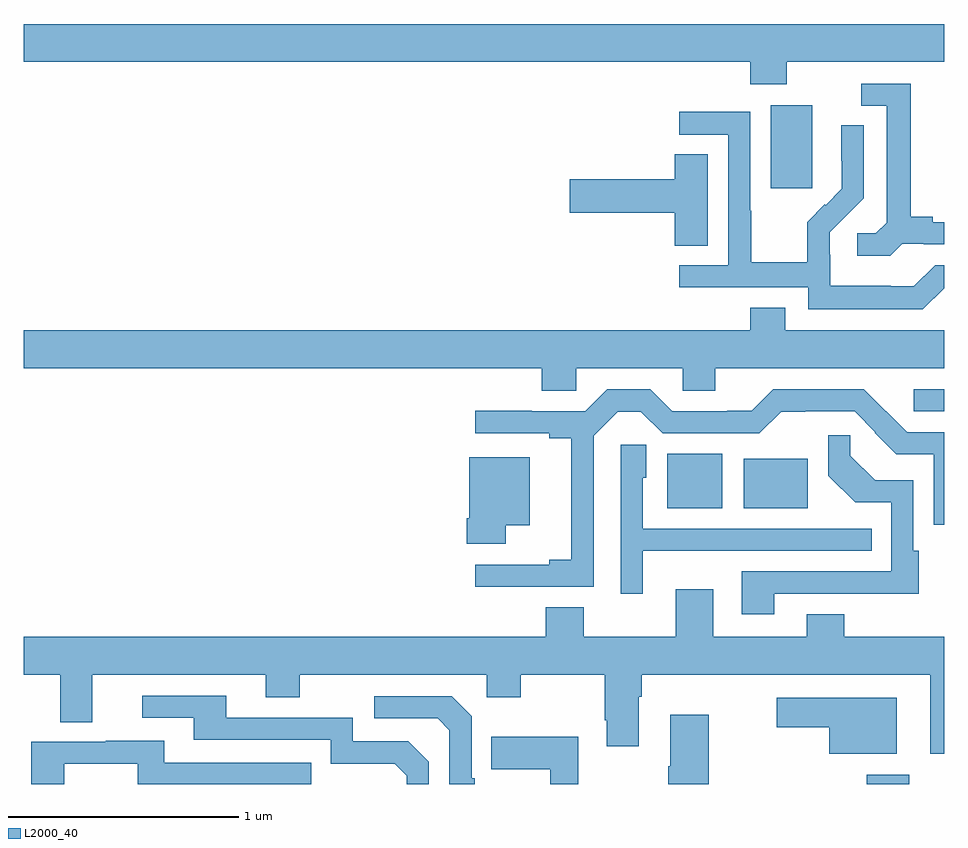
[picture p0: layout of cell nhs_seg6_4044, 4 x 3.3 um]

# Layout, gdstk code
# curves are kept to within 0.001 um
import gdstk
lib = gdstk.Library(unit=1e-6, precision=1e-09)
def R(c, l, rs):  # rectangles x0, y0, x1, y1
    for r in rs: c.add(gdstk.rectangle(r[:2], r[2:], *l))
def P(c, l, *ps):  # polygons
    for p in ps: c.add(gdstk.Polygon(p, *l))
L2000_40 = (2000, 40)

nhs_seg6_4044 = lib.new_cell('nhs_seg6_4044')
R(nhs_seg6_4044, L2000_40, [(352.663,973.5,352.849,973.54), (351.797,974.699,352.036,974.935), (352.13,974.699,352.408,974.914), (352.869,975.12,353,975.216), (352.247,976.089,352.426,976.45)])
P(nhs_seg6_4044, L2000_40, [(352.317,976.64),(353,976.64),(353,976.804),(349,976.804),(349,976.64),(352.157,976.64),(352.157,976.541),(352.317,976.541)],
  [(352.818,975.849),(352.912,975.849),(352.912,975.846),(353,975.846),(353,975.942),(352.951,975.942),(352.951,975.965),(352.855,975.965),(352.855,976.545),(352.641,976.545),(352.641,976.449),(352.751,976.449),(352.751,975.941),(352.704,975.894),(352.623,975.894),(352.623,975.797),(352.766,975.797)],
  [(353,975.656),(353,975.756),(352.962,975.756),(352.869,975.663),(352.769,975.663),(352.769,975.667),(352.506,975.667),(352.506,975.801),(352.504,975.801),(352.504,975.898),(352.65,976.046),(352.65,976.364),(352.554,976.364),(352.554,976.21),(352.556,976.21),(352.556,976.088),(352.485,976.017),(352.482,976.02),(352.405,975.943),(352.405,975.769),(352.161,975.769),(352.161,975.992),(352.158,975.992),(352.158,976.422),(351.849,976.422),(351.849,976.323),(352.062,976.323),(352.062,975.756),(351.849,975.756),(351.849,975.66),(352.41,975.66),(352.41,975.563),(352.907,975.563)],
  [(351.973,976.238),(351.83,976.238),(351.83,976.13),(351.372,976.13),(351.372,975.983),(351.83,975.983),(351.83,975.841),(351.973,975.841)],
  [(351.402,975.308),(351.864,975.308),(351.864,975.21),(352.006,975.21),(352.006,975.308),(353,975.308),(353,975.472),(352.309,975.472),(352.309,975.571),(352.157,975.571),(352.157,975.472),(349,975.472),(349,975.308),(351.251,975.308),(351.251,975.21),(351.402,975.21)],
  [(351.173,974.358),(351.477,974.358),(351.477,975.015),(351.581,975.119),(351.682,975.119),(351.777,975.024),(352.197,975.024),(352.292,975.119),(352.611,975.12),(352.701,975.03),(352.699,975.028),(352.793,974.934),(352.956,974.934),(352.956,974.628),(353,974.628),(353,975.03),(352.839,975.03),(352.651,975.216),(352.257,975.216),(352.163,975.122),(352.058,975.122),(352.058,975.12),(351.819,975.12),(351.723,975.216),(351.536,975.216),(351.44,975.12),(351.207,975.12),(351.207,975.122),(350.961,975.122),(350.961,975.024),(351.284,975.024),(351.284,975.004),(351.38,975.004),(351.38,974.474),(351.284,974.474),(351.284,974.454),(350.961,974.454),(350.961,974.357)],
  [(352.261,974.328),(352.891,974.327),(352.891,974.514),(352.866,974.514),(352.866,974.82),(352.7,974.82),(352.592,974.928),(352.592,975.016),(352.497,975.016),(352.497,974.84),(352.613,974.724),(352.77,974.724),(352.77,974.424),(352.121,974.424),(352.121,974.238),(352.261,974.238)],
  [(351.691,974.513),(352.025,974.513),(352.025,974.514),(352.685,974.514),(352.685,974.61),(351.69,974.61),(351.69,974.832),(351.706,974.832),(351.706,974.975),(351.594,974.975),(351.594,974.328),(351.691,974.328)],
  [(351.094,974.624),(351.199,974.624),(351.199,974.92),(350.936,974.92),(350.936,974.656),(350.924,974.656),(350.924,974.544),(351.094,974.544)],
  [(353,974.14),(352.567,974.14),(352.567,974.239),(352.403,974.239),(352.403,974.14),(351.997,974.14),(351.997,974.347),(351.833,974.347),(351.833,974.14),(351.433,974.14),(351.433,974.269),(351.269,974.269),(351.269,974.14),(349,974.14),(349,973.976),(349.157,973.976),(349.157,973.768),(349.297,973.768),(349.297,973.976),(350.051,973.976),(350.051,973.877),(350.199,973.877),(350.199,973.976),(351.012,973.976),(351.012,973.877),(351.159,973.877),(351.159,973.976),(351.526,973.976),(351.526,973.777),(351.533,973.777),(351.533,973.665),(351.673,973.665),(351.673,973.88),(351.686,973.88),(351.686,973.976),(352.94,973.976),(352.94,973.632),(353,973.632)],
  [(350.76,973.596),(350.67,973.686),(350.43,973.686),(350.43,973.788),(349.879,973.788),(349.879,973.884),(349.515,973.884),(349.515,973.788),(349.739,973.788),(349.739,973.692),(350.334,973.692),(350.334,973.589),(350.611,973.589),(350.664,973.536),(350.664,973.5),(350.76,973.5)],
  [(350.959,973.525),(350.946,973.525),(350.946,973.794),(350.859,973.881),(350.523,973.881),(350.523,973.785),(350.799,973.785),(350.85,973.734),(350.85,973.5),(350.959,973.5)],
  [(352.795,973.876),(352.272,973.876),(352.272,973.747),(352.502,973.747),(352.502,973.631),(352.795,973.631)],
  [(351.977,973.801),(351.809,973.801),(351.809,973.577),(351.802,973.577),(351.802,973.5),(351.977,973.5)],
  [(351.409,973.705),(351.031,973.705),(351.031,973.565),(351.288,973.565),(351.288,973.5),(351.409,973.5)],
  [(349.176,973.587),(349.494,973.587),(349.494,973.5),(350.249,973.5),(350.249,973.593),(349.609,973.593),(349.609,973.687),(349.355,973.687),(349.355,973.683),(349.031,973.683),(349.031,973.5),(349.176,973.5)])

lib.write_gds('nhs_seg6_4044.gds')
